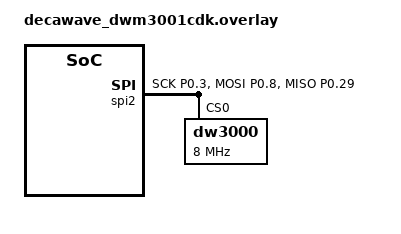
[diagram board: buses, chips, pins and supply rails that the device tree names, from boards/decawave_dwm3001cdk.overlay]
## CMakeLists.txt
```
cmake_minimum_required(VERSION 3.20.0)

find_package(Zephyr REQUIRED HINTS $ENV{ZEPHYR_BASE})
project(pintracker_app)

target_sources(app PRIVATE
    src/main.c
    src/dw3000_port.c
	src/port.c

    src/dw3000/deca_interface.c
    src/dw3000/deca_compat.c
    src/dw3000/dw3000_device.c
    src/dw3000/deca_probe_interface.c
)

target_include_directories(app PRIVATE
	src
	src/dw3000
)
```

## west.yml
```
manifest:
  self:
    west-commands: []
```

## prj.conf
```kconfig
CONFIG_SPI=y
CONFIG_GPIO=y
CONFIG_SERIAL=y
CONFIG_CONSOLE=y
CONFIG_PRINTK=y
CONFIG_CBPRINTF_FP_SUPPORT=y

# DW3000 driver initialization uses a deeper call chain than the default main stack.
CONFIG_MAIN_STACK_SIZE=8192
```

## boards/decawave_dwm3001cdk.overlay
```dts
&spi2 {
    compatible = "nordic,nrf-spim";
    status = "okay";

    pinctrl-0 = <&spi2_default>;
    pinctrl-1 = <&spi2_sleep>;
    pinctrl-names = "default", "sleep";

    dw3000: dw3000@0 {
        reg = <0>;
        spi-max-frequency = <8000000>;
    };
};

&pinctrl {
    spi2_default: spi2_default {
        group1 {
            psels = <
                NRF_PSEL(SPIM_SCK, 0, 3)
                NRF_PSEL(SPIM_MOSI, 0, 8)
                NRF_PSEL(SPIM_MISO, 0, 29)
            >;
        };
    };

    spi2_sleep: spi2_sleep {
        group1 {
            psels = <
                NRF_PSEL(SPIM_SCK, 0, 3)
                NRF_PSEL(SPIM_MOSI, 0, 8)
                NRF_PSEL(SPIM_MISO, 0, 29)
            >;
            low-power-enable;
        };
    };
};
```

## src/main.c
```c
#include <zephyr/kernel.h>
#include <zephyr/sys/printk.h>

#include <math.h>
#include <stdbool.h>
#include <stdint.h>
#include <string.h>

#include "deca_device_api.h"
#include "deca_probe_interface.h"
#include "dw3000_deca_regs.h"
#include "dw3000_port.h"

extern void spi_init(void);

#define FW_VERSION "v1.0-nrf"

/* Set to 0 for tag firmware, 1 for anchor firmware. */
#define PINTRACKER_BUILD_ANCHOR 1
#define PINTRACKER_ANCHOR_ID 1U

#define MAX_ANCHORS 3U
#define MEDIAN_WINDOW 7U
#define RX_BUFFER_LEN 22U
#define CAL_SAMPLES 50U

#define RANGE_INTERVAL_MS 100U
#define RX_TIMEOUT_MS 20U
#define RX_EARLY_EXIT_MS 12U
#define TX_TIMEOUT_MS 50U
#define ANCHOR_POLL_TIMEOUT_MS 1000U

#define DISTANCE_SCALE 1.0625f
#define DISTANCE_OFFSET (-0.159f)
#define MAX_ANCHOR_JUMP_METERS 1.5f
#define ANCHOR_REJECT_THRESH 0.18f
#define WEIGHT_DECAY 6.0f
#define CUP_DIAMETER_METERS 0.108f
#define DEBUG_STABILITY_MAX_SPREAD 0.4f

#define CONF_ANCHOR_2 0.8f
#define CONF_ANCHOR_1 0.5f
#define CONF_MOTION_PENALTY 0.7f
#define CONF_MIN 0.05f

#define ALPHA_MIN 0.05f
#define ALPHA_MAX 0.35f
#define VELOCITY_LP_ALPHA 0.2f
#define VELOCITY_LP_DECAY 0.8f

#define LOCK_ACQUIRE_TOL_METERS 0.05f
#define LOCK_BREAK_TOL_METERS 0.20f
#define LOCK_MIN_CONFIDENCE 80.0f
#define LOCK_CONFIRM_COUNT 5U

#define TX_ANT_DLY 16384U
#define RX_ANT_DLY 16384U
#define POLL_TX_TO_RESP_RX_DLY_UUS 1000U
#define RESP_RX_TIMEOUT_UUS 12000U
#define PREAMBLE_TIMEOUT_PAC 0U
#define ANCHOR_RESPONSE_SLOT_UUS 3000U
#define UUS_TO_DWT_TIME 65536ULL

#define ALL_MSG_COMMON_LEN 10U
#define ALL_MSG_SN_IDX 2U
#define RESP_MSG_POLL_RX_TS_IDX 10U
#define RESP_MSG_RESP_TX_TS_IDX 14U
#define RESP_MSG_ANCHOR_ID_IDX 18U
#define DW3000_XTRIM_VALUE 0x10U

#define DW3000_RSSI_SCALE_FACTOR 131072.0f
#define DW3000_RSSI_OFFSET_DB 113.77f
#define DW3000_NO_SIGNAL_DBM (-120.0f)
#define SPEED_OF_LIGHT 299702547.0f

typedef struct {
	float smoothed;
	float confidence;
	float velocity_lp;
	bool valid;
} filter_state_t;

typedef enum {
	SEARCHING,
	CANDIDATE,
	LOCKED,
} lock_state_t;

typedef struct {
	uint8_t id;
	float distance;
	float rssi;
	bool valid;
	bool rejected;
} anchor_measurement_t;

typedef struct {
	uint8_t rx_buffer[RX_BUFFER_LEN];
	uint8_t frame_seq_nb;
	uint32_t status_reg;
	anchor_measurement_t anchors[MAX_ANCHORS];
	uint8_t anchor_count;
	float distance_spread;
	float signal_strength;
	float signal_strength_peak;
} uwb_state_t;

typedef struct {
	float buffer[MEDIAN_WINDOW];
	uint8_t index;
	uint8_t count;
	float last_raw_distance;
	float raw_velocity;
} range_state_t;

static filter_state_t filter;
static lock_state_t lock_state = SEARCHING;
static float lock_distance;
static uint8_t lock_counter;
static uwb_state_t uwb;
static range_state_t range_state;

static float cal_buffer[MAX_ANCHORS][CAL_SAMPLES];
static uint16_t cal_index[MAX_ANCHORS];
static uint16_t rx_attempt_count;
static uint16_t rx_valid_count;

static dwt_config_t config = {
	5,
	DWT_PLEN_256,
	DWT_PAC16,
	9,
	9,
	DWT_SFD_DW_8,
	DWT_BR_6M8,
	DWT_PHRMODE_STD,
	DWT_PHRRATE_STD,
	(256 + 1 + 8 - 16),
	DWT_STS_MODE_OFF,
	DWT_STS_LEN_64,
	DWT_PDOA_M0,
};

/* Common Qorvo example defaults for DW3000 channel 5; tune for production hardware. */
static dwt_txconfig_t txconfig = {
	.PGdly = 0x34,
	.power = 0xFDFDFDFD,
	.PGcount = 0x0000,
};

static uint8_t tx_poll_msg[] = {
	0xC1, 0x88, 0, 0xCA, 0xDE, 'W', 'A', 'V', 'E', 0xE0, 0, 0,
};

static uint8_t rx_resp_msg[] = {
	0xC1, 0x88, 0, 0xCA, 0xDE, 'V', 'E', 'W', 'A', 0xE1,
	0, 0, 0, 0,
	0, 0, 0, 0,
	0,
	0,
	0, 0,
};

static uint8_t rx_poll_msg[] = {
	0xC1, 0x88, 0, 0xCA, 0xDE, 'W', 'A', 'V', 'E', 0xE0, 0, 0,
};

static uint8_t tx_resp_msg[] = {
	0xC1, 0x88, 0, 0xCA, 0xDE, 'V', 'E', 'W', 'A', 0xE1,
	0, 0, 0, 0,
	0, 0, 0, 0,
	PINTRACKER_ANCHOR_ID,
	0,
	0, 0,
};

static uint64_t get_tx_timestamp_u64(void)
{
	uint8_t ts[5];
	uint64_t value = 0;

	dwt_readtxtimestamp(ts);

	for (int i = 4; i >= 0; i--) {
		value <<= 8;
		value |= ts[i];
	}

	return value;
}

static uint64_t get_rx_timestamp_u64(void)
{
	uint8_t ts[5];
	uint64_t value = 0;

	dwt_readrxtimestamp(ts, DWT_COMPAT_NONE);

	for (int i = 4; i >= 0; i--) {
		value <<= 8;
		value |= ts[i];
	}

	return value;
}

static void resp_msg_get_ts(const uint8_t *ts_field, uint32_t *ts)
{
	*ts = ((uint32_t)ts_field[0]) |
	      ((uint32_t)ts_field[1] << 8) |
	      ((uint32_t)ts_field[2] << 16) |
	      ((uint32_t)ts_field[3] << 24);
}

static void resp_msg_set_ts(uint8_t *ts_field, uint64_t ts)
{
	for (uint8_t i = 0; i < 4U; i++) {
		ts_field[i] = (uint8_t)ts;
		ts >>= 8;
	}
}

static void clear_anchor_data(void)
{
	uwb.anchor_count = 0;

	for (uint8_t i = 0; i < MAX_ANCHORS; i++) {
		uwb.anchors[i].valid = false;
		uwb.anchors[i].rejected = false;
	}
}

static void restart_receiver(void)
{
	dwt_writesysstatuslo(SYS_STATUS_RXFCG_BIT_MASK | SYS_STATUS_ALL_RX_TO | SYS_STATUS_ALL_RX_ERR);
	k_busy_wait(5);
	(void)dwt_rxenable(DWT_START_RX_IMMEDIATE);
}

static void handle_radio_errors(void)
{
	uint32_t status = dwt_readsysstatuslo();

	if ((status & (SYS_STATUS_ALL_RX_TO | SYS_STATUS_ALL_RX_ERR)) != 0U) {
		dwt_writesysstatuslo(SYS_STATUS_ALL_RX_TO | SYS_STATUS_ALL_RX_ERR);
	}
}

static bool send_poll(void)
{
	tx_poll_msg[ALL_MSG_SN_IDX] = uwb.frame_seq_nb;

	dwt_writesysstatuslo(SYS_STATUS_TXFRS_BIT_MASK |
			       SYS_STATUS_RXFCG_BIT_MASK |
			       SYS_STATUS_ALL_RX_TO |
			       SYS_STATUS_ALL_RX_ERR);

	dwt_writetxdata(sizeof(tx_poll_msg), tx_poll_msg, 0);
	dwt_writetxfctrl(sizeof(tx_poll_msg), 0, 1);

	if (dwt_starttx(DWT_START_TX_IMMEDIATE) != DWT_SUCCESS) {
		return false;
	}

	int64_t start = k_uptime_get();

	while ((dwt_readsysstatuslo() & SYS_STATUS_TXFRS_BIT_MASK) == 0U) {
		if ((k_uptime_get() - start) > TX_TIMEOUT_MS) {
			printk("TX timeout\n");
			restart_receiver();
			return false;
		}
		k_sleep(K_MSEC(1));
	}

	dwt_writesysstatuslo(SYS_STATUS_TXFRS_BIT_MASK);
	restart_receiver();
	rx_attempt_count++;
	return true;
}

static void extract_signal_quality(void)
{
	dwt_rxdiag_t diag;

	dwt_readdiagnostics(&diag);

	if ((diag.ipatovAccumCount > 0U) && (diag.ipatovPower > 0U)) {
		float n = (float)diag.ipatovAccumCount;
		float c = (float)diag.ipatovPower;

		uwb.signal_strength = 10.0f * log10f((c * DW3000_RSSI_SCALE_FACTOR) / (n * n)) - DW3000_RSSI_OFFSET_DB;
	} else {
		uwb.signal_strength = DW3000_NO_SIGNAL_DBM;
	}

	uwb.signal_strength_peak = uwb.signal_strength;
}

static bool process_anchor_response(void)
{
	uint8_t rng = 0;
	uint16_t frame_len = dwt_getframelength(&rng);

	if ((frame_len < RX_BUFFER_LEN) || (frame_len > sizeof(uwb.rx_buffer))) {
		return false;
	}

	dwt_readrxdata(uwb.rx_buffer, frame_len, 0);

	uint8_t seq = uwb.rx_buffer[ALL_MSG_SN_IDX];
	uwb.rx_buffer[ALL_MSG_SN_IDX] = 0;
	bool valid = (memcmp(uwb.rx_buffer, rx_resp_msg, ALL_MSG_COMMON_LEN) == 0);
	uwb.rx_buffer[ALL_MSG_SN_IDX] = seq;

	if (!valid) {
		return false;
	}

	uint64_t resp_rx_ts = get_rx_timestamp_u64();
	uint64_t poll_tx_ts = get_tx_timestamp_u64();
	uint32_t poll_rx_ts;
	uint32_t resp_tx_ts;

	resp_msg_get_ts(&uwb.rx_buffer[RESP_MSG_POLL_RX_TS_IDX], &poll_rx_ts);
	resp_msg_get_ts(&uwb.rx_buffer[RESP_MSG_RESP_TX_TS_IDX], &resp_tx_ts);

	int64_t rtd_init = (int64_t)(resp_rx_ts - poll_tx_ts);
	int64_t rtd_resp = (int64_t)(resp_tx_ts - poll_rx_ts);

	if ((rtd_init <= 0) || (rtd_resp <= 0)) {
		return false;
	}

	float clock_offset_ratio = ((float)dwt_readclockoffset()) / (float)(1UL << 26);
	float tof = ((float)rtd_init - ((float)rtd_resp * (1.0f - clock_offset_ratio))) * 0.5f * (float)DWT_TIME_UNITS;
	float distance = (tof * SPEED_OF_LIGHT * DISTANCE_SCALE) + DISTANCE_OFFSET;

	if (distance < 0.0f) {
		distance = 0.0f;
	}

	extract_signal_quality();

	uint8_t anchor_id = uwb.rx_buffer[RESP_MSG_ANCHOR_ID_IDX];
	static float last_dist[MAX_ANCHORS];
	bool rejected = false;

	if (anchor_id < MAX_ANCHORS) {
		float prev = last_dist[anchor_id];

		if ((prev > 0.0f) && (fabsf(distance - prev) > MAX_ANCHOR_JUMP_METERS)) {
			rejected = true;
			printk("[REJECT] A%u %.2f -> %.2f\n", anchor_id, (double)prev, (double)distance);
		}

		if (!rejected) {
			last_dist[anchor_id] = distance;
		}
	}

	if (!rejected && (uwb.anchor_count < MAX_ANCHORS)) {
		anchor_measurement_t *anchor = &uwb.anchors[uwb.anchor_count++];

		anchor->id = anchor_id;
		anchor->distance = distance;
		anchor->rssi = uwb.signal_strength_peak;
		anchor->valid = true;
		anchor->rejected = false;
		rx_valid_count++;
	}

	return true;
}

static bool collect_anchor_responses(void)
{
	int64_t start = k_uptime_get();
	int64_t first_rx_time = 0;

	while ((k_uptime_get() - start) < RX_TIMEOUT_MS) {
		uwb.status_reg = dwt_readsysstatuslo();

		if ((uwb.status_reg & SYS_STATUS_RXFCG_BIT_MASK) != 0U) {
			if (first_rx_time == 0) {
				first_rx_time = k_uptime_get();
			}

			dwt_writesysstatuslo(SYS_STATUS_RXFCG_BIT_MASK);
			(void)process_anchor_response();
			restart_receiver();

			if (uwb.anchor_count >= MAX_ANCHORS) {
				break;
			}
		}

		if ((uwb.status_reg & SYS_STATUS_ALL_RX_TO) != 0U) {
			dwt_writesysstatuslo(SYS_STATUS_ALL_RX_TO);
			break;
		}

		if ((uwb.status_reg & SYS_STATUS_ALL_RX_ERR) != 0U) {
			dwt_writesysstatuslo(SYS_STATUS_ALL_RX_ERR);
		}

		if ((first_rx_time == 0) && ((k_uptime_get() - start) > RX_EARLY_EXIT_MS)) {
			break;
		}

		k_sleep(K_MSEC(1));
	}

	uwb.frame_seq_nb++;
	return true;
}

static float fuse_anchor_distances(void)
{
	if (uwb.anchor_count == 0U) {
		return 0.0f;
	}

	float d[MAX_ANCHORS];
	uint8_t count = 0;

	for (uint8_t i = 0; i < uwb.anchor_count; i++) {
		if (uwb.anchors[i].valid) {
			d[count++] = uwb.anchors[i].distance;
		}
	}

	if (count == 0U) {
		return 0.0f;
	}

	for (uint8_t i = 0; i < (count - 1U); i++) {
		for (uint8_t j = i + 1U; j < count; j++) {
			if (d[j] < d[i]) {
				float tmp = d[i];
				d[i] = d[j];
				d[j] = tmp;
			}
		}
	}

	float median = (count % 2U) == 0U ? 0.5f * (d[count / 2U - 1U] + d[count / 2U]) : d[count / 2U];
	float sum = 0.0f;
	float wsum = 0.0f;
	uint8_t accepted = 0;

	for (uint8_t i = 0; i < uwb.anchor_count; i++) {
		if (!uwb.anchors[i].valid) {
			continue;
		}

		float dist = uwb.anchors[i].distance;
		float err = fabsf(dist - median);

		if (err > ANCHOR_REJECT_THRESH) {
			uwb.anchors[i].rejected = true;
			continue;
		}

		float weight = expf(-err * WEIGHT_DECAY);
		sum += dist * weight;
		wsum += weight;
		accepted++;
	}

	return ((accepted > 0U) && (wsum > 0.0f)) ? (sum / wsum) : median;
}

static float compute_anchor_spread(void)
{
	if (uwb.anchor_count < 2U) {
		return 0.0f;
	}

	float min_d = uwb.anchors[0].distance;
	float max_d = uwb.anchors[0].distance;

	for (uint8_t i = 1; i < uwb.anchor_count; i++) {
		if (uwb.anchors[i].distance < min_d) {
			min_d = uwb.anchors[i].distance;
		}

		if (uwb.anchors[i].distance > max_d) {
			max_d = uwb.anchors[i].distance;
		}
	}

	float spread = (max_d - min_d) - CUP_DIAMETER_METERS;
	return spread < 0.0f ? 0.0f : spread;
}

static float compute_median(const float *values, uint8_t count)
{
	float temp[MEDIAN_WINDOW];

	if (count > MEDIAN_WINDOW) {
		count = MEDIAN_WINDOW;
	}

	memcpy(temp, values, count * sizeof(float));

	for (uint8_t i = 0; i < (count - 1U); i++) {
		for (uint8_t j = i + 1U; j < count; j++) {
			if (temp[j] < temp[i]) {
				float t = temp[i];
				temp[i] = temp[j];
				temp[j] = t;
			}
		}
	}

	return temp[count / 2U];
}

static float get_median_distance(void)
{
	return range_state.count == 0U ? filter.smoothed : compute_median(range_state.buffer, range_state.count);
}

static float compute_confidence(float spread, uint8_t anchor_count, bool moving)
{
	float confidence = 1.0f;
	float spread_penalty = 1.0f - (spread * 2.5f);

	if (spread_penalty < 0.15f) {
		spread_penalty = 0.15f;
	}

	confidence *= spread_penalty;

	if (anchor_count == 2U) {
		confidence *= CONF_ANCHOR_2;
	}

	if (anchor_count <= 1U) {
		confidence *= CONF_ANCHOR_1;
	}

	if (moving) {
		confidence *= CONF_MOTION_PENALTY;
	}

	return confidence < CONF_MIN ? CONF_MIN : confidence;
}

static void update_velocity(float distance)
{
	range_state.raw_velocity = distance - range_state.last_raw_distance;
	range_state.last_raw_distance = distance;
	filter.velocity_lp = (VELOCITY_LP_DECAY * filter.velocity_lp) + (VELOCITY_LP_ALPHA * range_state.raw_velocity);
}

static void update_filter(float measurement, float confidence)
{
	float alpha = ALPHA_MIN + ((ALPHA_MAX - ALPHA_MIN) * confidence);

	if (!filter.valid) {
		filter.smoothed = measurement;
		filter.valid = true;
		return;
	}

	filter.smoothed += alpha * (measurement - filter.smoothed);
}

static void update_lock(float distance, bool moving)
{
	float delta = fabsf(distance - lock_distance);

	switch (lock_state) {
	case SEARCHING:
		lock_counter = 0;
		if (!moving && (filter.confidence > LOCK_MIN_CONFIDENCE)) {
			lock_distance = distance;
			lock_counter = 1;
			lock_state = CANDIDATE;
		}
		break;
	case CANDIDATE:
		if ((delta < LOCK_ACQUIRE_TOL_METERS) && (filter.confidence > LOCK_MIN_CONFIDENCE)) {
			lock_counter++;
			if (lock_counter > LOCK_CONFIRM_COUNT) {
				lock_state = LOCKED;
			}
		} else {
			lock_state = SEARCHING;
		}
		break;
	case LOCKED:
		if ((delta > LOCK_BREAK_TOL_METERS) || moving) {
			lock_state = SEARCHING;
		}
		break;
	}
}

static bool run_ranging_cycle(float *distance)
{
	clear_anchor_data();

	if (!send_poll()) {
		return false;
	}

	if (!collect_anchor_responses()) {
		return false;
	}

	*distance = fuse_anchor_distances();
	uwb.distance_spread = compute_anchor_spread();

	if ((uwb.anchor_count == MAX_ANCHORS) && (uwb.distance_spread < DEBUG_STABILITY_MAX_SPREAD)) {
		for (uint8_t i = 0; i < uwb.anchor_count; i++) {
			uint8_t id = uwb.anchors[i].id;

			if (id < MAX_ANCHORS) {
				cal_buffer[id][cal_index[id]++] = uwb.anchors[i].distance;
				if (cal_index[id] >= CAL_SAMPLES) {
					cal_index[id] = 0;
				}
			}
		}
	}

	return uwb.anchor_count > 0U;
}

static void process_measurement(float distance, float spread, bool moving)
{
	update_velocity(distance);

	range_state.buffer[range_state.index++] = distance;
	if (range_state.index >= MEDIAN_WINDOW) {
		range_state.index = 0;
	}
	if (range_state.count < MEDIAN_WINDOW) {
		range_state.count++;
	}

	float confidence = compute_confidence(spread, uwb.anchor_count, moving);
	filter.confidence = confidence * 100.0f;
	update_filter(distance, confidence);
	update_lock(filter.smoothed, moving);
}

static void print_telemetry(uint32_t cycle)
{
	printk("%6u A0=%5.2f A1=%5.2f A2=%5.2f spread=%4.2f dist=%5.2f med=%5.2f conf=%3.0f%% rx=%u/%u state=%d\n",
	       cycle,
	       uwb.anchors[0].valid ? (double)uwb.anchors[0].distance : -1.0,
	       uwb.anchors[1].valid ? (double)uwb.anchors[1].distance : -1.0,
	       uwb.anchors[2].valid ? (double)uwb.anchors[2].distance : -1.0,
	       (double)uwb.distance_spread,
	       (double)filter.smoothed,
	       (double)get_median_distance(),
	       (double)filter.confidence,
	       rx_valid_count,
	       rx_attempt_count * MAX_ANCHORS,
	       lock_state);
}

static bool anchor_wait_poll_and_respond(uint32_t *poll_count)
{
	uint8_t rx_buffer[RX_BUFFER_LEN];
	int64_t start = k_uptime_get();

	dwt_writesysstatuslo(SYS_STATUS_RXFCG_BIT_MASK | SYS_STATUS_ALL_RX_TO | SYS_STATUS_ALL_RX_ERR | SYS_STATUS_TXFRS_BIT_MASK);
	(void)dwt_rxenable(DWT_START_RX_IMMEDIATE);

	while ((k_uptime_get() - start) < ANCHOR_POLL_TIMEOUT_MS) {
		uint32_t status = dwt_readsysstatuslo();

		if ((status & SYS_STATUS_RXFCG_BIT_MASK) != 0U) {
			uint8_t rng = 0;
			uint16_t frame_len = dwt_getframelength(&rng);

			dwt_writesysstatuslo(SYS_STATUS_RXFCG_BIT_MASK);

			if ((frame_len == sizeof(rx_poll_msg)) && (frame_len <= sizeof(rx_buffer))) {
				dwt_readrxdata(rx_buffer, frame_len, 0);

				uint8_t seq = rx_buffer[ALL_MSG_SN_IDX];
				rx_buffer[ALL_MSG_SN_IDX] = 0;
				bool valid = (memcmp(rx_buffer, rx_poll_msg, ALL_MSG_COMMON_LEN) == 0);
				rx_buffer[ALL_MSG_SN_IDX] = seq;

				if (valid) {
					uint64_t poll_rx_ts = get_rx_timestamp_u64();
					uint32_t response_delay_uus = (PINTRACKER_ANCHOR_ID + 1U) * ANCHOR_RESPONSE_SLOT_UUS;
					uint32_t resp_tx_time = (uint32_t)((poll_rx_ts + ((uint64_t)response_delay_uus * UUS_TO_DWT_TIME)) >> 8);
					uint64_t resp_tx_ts = (((uint64_t)(resp_tx_time & 0xFFFFFFFEUL)) << 8) + TX_ANT_DLY;

					tx_resp_msg[ALL_MSG_SN_IDX] = seq;
					tx_resp_msg[RESP_MSG_ANCHOR_ID_IDX] = PINTRACKER_ANCHOR_ID;
					resp_msg_set_ts(&tx_resp_msg[RESP_MSG_POLL_RX_TS_IDX], poll_rx_ts);
					resp_msg_set_ts(&tx_resp_msg[RESP_MSG_RESP_TX_TS_IDX], resp_tx_ts);

					dwt_setdelayedtrxtime(resp_tx_time);
					dwt_writetxdata(sizeof(tx_resp_msg), tx_resp_msg, 0);
					dwt_writetxfctrl(sizeof(tx_resp_msg), 0, 1);

					if (dwt_starttx(DWT_START_TX_DELAYED) == DWT_SUCCESS) {
						int64_t tx_start = k_uptime_get();

						while ((dwt_readsysstatuslo() & SYS_STATUS_TXFRS_BIT_MASK) == 0U) {
							if ((k_uptime_get() - tx_start) > TX_TIMEOUT_MS) {
								break;
							}
						}

						dwt_writesysstatuslo(SYS_STATUS_TXFRS_BIT_MASK);
						(*poll_count)++;
						return true;
					}
				}
			}
		}

		if ((status & (SYS_STATUS_ALL_RX_TO | SYS_STATUS_ALL_RX_ERR)) != 0U) {
			dwt_writesysstatuslo(SYS_STATUS_ALL_RX_TO | SYS_STATUS_ALL_RX_ERR);
			(void)dwt_rxenable(DWT_START_RX_IMMEDIATE);
		}

		k_sleep(K_MSEC(1));
	}

	dwt_forcetrxoff();
	return false;
}

static void run_anchor(void)
{
	uint32_t poll_count = 0;
	uint32_t idle_count = 0;

	printk("Anchor ID: %u\n", PINTRACKER_ANCHOR_ID);
	printk("Anchor waiting for polls\n");

	while (1) {
		if (anchor_wait_poll_and_respond(&poll_count)) {
			printk("anchor %u responded count=%u\n", PINTRACKER_ANCHOR_ID, poll_count);
		} else {
			idle_count++;
			printk("anchor %u waiting idle=%u responses=%u\n", PINTRACKER_ANCHOR_ID, idle_count, poll_count);
		}
	}
}

static void run_tag(void)
{
	uint32_t last_range_ms = 0;
	uint32_t cycle = 0;

	while (1) {
		uint32_t now = k_uptime_get_32();

		if ((now - last_range_ms) >= RANGE_INTERVAL_MS) {
			float raw_distance = 0.0f;

			last_range_ms = now;
			cycle++;

			if (run_ranging_cycle(&raw_distance)) {
				process_measurement(raw_distance, uwb.distance_spread, false);
				print_telemetry(cycle);
			} else {
				printk("%6u searching rx=%u/%u\n", cycle, rx_valid_count, rx_attempt_count * MAX_ANCHORS);
			}
		}

		handle_radio_errors();
		k_sleep(K_MSEC(5));
	}
}

static void init_uwb(const char *role)
{
	printk("DW3000 %s %s\n", role, FW_VERSION);

	spi_init();
	k_msleep(20);

	uint8_t dev_hdr[1] = { 0x00 };
	uint8_t dev_id_raw[4] = { 0 };

	for (uint8_t i = 0; i < 5; i++) {
		(void)readfromspi(1, dev_hdr, 4, dev_id_raw);
		printk("RAW DEV_ID[%u]: %02X %02X %02X %02X\n",
		       i,
		       dev_id_raw[0],
		       dev_id_raw[1],
		       dev_id_raw[2],
		       dev_id_raw[3]);
		k_msleep(5);
	}

	if (dwt_probe((struct dwt_probe_s *)&dw3000_probe_interf) == DWT_ERROR) {
		printk("PROBE FAILED\n");
		while (1) {
			k_sleep(K_SECONDS(1));
		}
	}

	while (!dwt_checkidlerc()) {
		k_sleep(K_MSEC(1));
	}

	if (dwt_initialise(DWT_READ_OTP_ALL) == DWT_ERROR) {
		printk("INIT FAILED\n");
		while (1) {
			k_sleep(K_SECONDS(1));
		}
	}

	dwt_setxtaltrim(DW3000_XTRIM_VALUE);
	dwt_softreset(DWT_RESET_ALL);
	k_msleep(2);

	while (!dwt_checkidlerc()) {
		k_sleep(K_MSEC(1));
	}

	if (dwt_initialise(DWT_READ_OTP_ALL) == DWT_ERROR) {
		printk("INIT FAILED after XTRIM\n");
		while (1) {
			k_sleep(K_SECONDS(1));
		}
	}

	printk("DEVICE ID: 0x%08X\n", dwt_readdevid());

	dwt_setleds(DWT_LEDS_ENABLE | DWT_LEDS_INIT_BLINK);

	if (dwt_configure(&config) != DWT_SUCCESS) {
		printk("CONFIG FAILED\n");
		while (1) {
			k_sleep(K_SECONDS(1));
		}
	}

	dwt_configciadiag(1);
	dwt_configuretxrf(&txconfig);
	dwt_setrxantennadelay(RX_ANT_DLY);
	dwt_settxantennadelay(TX_ANT_DLY);
	dwt_setrxaftertxdelay(POLL_TX_TO_RESP_RX_DLY_UUS);
	dwt_setrxtimeout(RESP_RX_TIMEOUT_UUS);
	dwt_setpreambledetecttimeout(PREAMBLE_TIMEOUT_PAC);
	dwt_setlnapamode(DWT_LNA_ENABLE | DWT_PA_ENABLE);

	printk("UWB ready\n");
}

int main(void)
{
#if PINTRACKER_BUILD_ANCHOR
	init_uwb("anchor");
	run_anchor();
#else
	init_uwb("tag");
	run_tag();
#endif

	return 0;
}
```

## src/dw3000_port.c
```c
#include <zephyr/kernel.h>
#include <zephyr/device.h>
#include <zephyr/drivers/spi.h>
#include <zephyr/drivers/gpio.h>
#include <zephyr/devicetree.h>
#include <string.h>

/* ===== SPI ===== */
#define SPI_NODE DT_NODELABEL(spi2)

/* ===== Pins ===== */
#define PIN_CS 6
#define PIN_RST 25
#define PIN_WAKEUP 19

static const struct device *spi_dev;
static const struct device *gpio0_dev;
static const struct device *gpio1_dev;

/* ===== SPI config ===== */
static const struct spi_config spi_cfg = {
	.frequency = 1000000,
	.operation = SPI_WORD_SET(8) |
				 SPI_TRANSFER_MSB |
				 SPI_MODE_CPOL |
				 SPI_MODE_CPHA,
	.slave = 0,
	.cs = {
		.gpio = {
			.port = NULL,
			.pin = 0,
			.dt_flags = 0,
		},
		.delay = 0,
	},
};

/* ===== INIT ===== */
void spi_init(void)
{
	spi_dev = DEVICE_DT_GET(SPI_NODE);

	if (!device_is_ready(spi_dev))
	{
		printk("SPI not ready!\n");
		return;
	}

	gpio0_dev = DEVICE_DT_GET(DT_NODELABEL(gpio0));
	gpio1_dev = DEVICE_DT_GET(DT_NODELABEL(gpio1));

	if (!device_is_ready(gpio0_dev) ||
		!device_is_ready(gpio1_dev))
	{
		printk("GPIO not ready!\n");
		return;
	}

	/* ===== Configure pins ===== */

	gpio_pin_configure(gpio1_dev, PIN_CS, GPIO_OUTPUT_ACTIVE);
	gpio_pin_set(gpio1_dev, PIN_CS, 1);

	gpio_pin_configure(gpio1_dev, PIN_WAKEUP, GPIO_OUTPUT_ACTIVE);
	gpio_pin_set(gpio1_dev, PIN_WAKEUP, 1);

	gpio_pin_configure(gpio0_dev, PIN_RST, GPIO_OUTPUT_ACTIVE);

	/* ===== Hardware reset ===== */

	gpio_pin_set(gpio0_dev, PIN_RST, 0);
	k_msleep(10);

	gpio_pin_set(gpio0_dev, PIN_RST, 1);
	k_msleep(10);

	printk("SPI init done\n");
}

/* ===== SPI WRITE ===== */
int writetospi(uint16_t headerLength,
			   const uint8_t *headerBuffer,
			   uint16_t bodyLength,
			   const uint8_t *bodyBuffer)
{
	uint8_t tx_buf[256];

	uint32_t total_len = headerLength + bodyLength;

	if (total_len > sizeof(tx_buf))
	{
		return -1;
	}

	memcpy(tx_buf, headerBuffer, headerLength);

	if (bodyLength > 0)
	{
		memcpy(tx_buf + headerLength,
			   bodyBuffer,
			   bodyLength);
	}

	struct spi_buf tx = {
		.buf = tx_buf,
		.len = total_len,
	};

	struct spi_buf_set tx_set = {
		.buffers = &tx,
		.count = 1,
	};

	gpio_pin_set(gpio1_dev, PIN_CS, 0);

	int ret = spi_write(spi_dev, &spi_cfg, &tx_set);

	gpio_pin_set(gpio1_dev, PIN_CS, 1);

	if (ret)
	{
		printk("SPI write error %d\n", ret);
	}

	return ret;
}

/* ===== SPI READ ===== */
int readfromspi(uint16_t headerLength,
				uint8_t *headerBuffer,
				uint16_t readLength,
				uint8_t *readBuffer)
{
	uint8_t tx_buf[256];
	uint8_t rx_buf[256];

	uint32_t total_len = headerLength + readLength;

	if (total_len > sizeof(tx_buf))
	{
		return -1;
	}

	memcpy(tx_buf, headerBuffer, headerLength);
	memset(tx_buf + headerLength, 0x00, readLength);

	struct spi_buf tx = {
		.buf = tx_buf,
		.len = total_len,
	};

	struct spi_buf rx = {
		.buf = rx_buf,
		.len = total_len,
	};

	struct spi_buf_set tx_set = {
		.buffers = &tx,
		.count = 1,
	};

	struct spi_buf_set rx_set = {
		.buffers = &rx,
		.count = 1,
	};

	gpio_pin_set(gpio1_dev, PIN_CS, 0);

	int ret = spi_transceive(spi_dev,
							 &spi_cfg,
							 &tx_set,
							 &rx_set);

	gpio_pin_set(gpio1_dev, PIN_CS, 1);

	if (ret)
	{
		printk("SPI read error %d\n", ret);
		return ret;
	}

	memcpy(readBuffer,
		   rx_buf + headerLength,
		   readLength);

	return 0;
}
```

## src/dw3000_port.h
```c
#pragma once

#include <stdint.h>

#ifdef __cplusplus
extern "C"
{
#endif

	void spi_init(void);

	int readfromspi(uint16_t headerLength,
					uint8_t *headerBuffer,
					uint16_t readLength,
					uint8_t *readBuffer);

	int writetospi(uint16_t headerLength,
				   const uint8_t *headerBuffer,
				   uint16_t bodyLength,
				   const uint8_t *bodyBuffer);

#ifdef __cplusplus
}
#endif
```

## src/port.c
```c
#include <zephyr/kernel.h>
#include <zephyr/sys/util.h>
#include "deca_device_api.h"

#include <stdint.h>

void deca_usleep(unsigned long time_us)
{
	k_usleep(time_us);
}

void deca_sleep(unsigned int time_ms)
{
	k_msleep(time_ms);
}

decaIrqStatus_t decamutexon(void)
{
	return 0;
}

void decamutexoff(decaIrqStatus_t s)
{
	ARG_UNUSED(s);
}

float rsl_calculate_signal_power(float rxpacc,
								 float cir_pwr,
								 uint8_t dgc_dec)
{
	ARG_UNUSED(rxpacc);
	ARG_UNUSED(cir_pwr);
	ARG_UNUSED(dgc_dec);

	return 0.0f;
}

float rsl_calculate_first_path_power(float fp1,
									 float fp2,
									 float fp3,
									 uint16_t rxpacc)
{
	ARG_UNUSED(fp1);
	ARG_UNUSED(fp2);
	ARG_UNUSED(fp3);
	ARG_UNUSED(rxpacc);

	return 0.0f;
}

/* ===== Existing stubs ===== */

void port_set_dw_ic_spi_slowrate(void)
{
}

void port_set_dw_ic_spi_fastrate(void)
{
}

void wakeup_device_with_io(void)
{
	k_msleep(1);
}

extern int writetospi(uint16_t headerLength,
					  const uint8_t *headerBuffer,
					  uint32_t bodyLength,
					  const uint8_t *bodyBuffer);

int writetospiwithcrc(uint16_t headerLength,
					  const uint8_t *headerBuffer,
					  uint16_t bodyLength,
					  const uint8_t *bodyBuffer,
					  uint8_t crc8)
{
	ARG_UNUSED(crc8);

	return writetospi(headerLength,
					  headerBuffer,
					  bodyLength,
					  bodyBuffer);
}
```

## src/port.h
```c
#pragma once

#include <stdint.h>
#include "deca_device_api.h"

#ifdef __cplusplus
extern "C"
{
#endif

	/* ===== SPI rate helpers ===== */

	void port_set_dw_ic_spi_slowrate(void);

	void port_set_dw_ic_spi_fastrate(void);

	/* ===== Wakeup ===== */

	void wakeup_device_with_io(void);

	/* ===== SPI write with CRC ===== */

	int writetospiwithcrc(uint16_t headerLength,
						  const uint8_t *headerBuffer,
						  uint16_t bodyLength,
						  const uint8_t *bodyBuffer,
						  uint8_t crc8);

	/* ===== Timing ===== */

	void deca_usleep(unsigned long time_us);

	void deca_sleep(unsigned int time_ms);

	/* ===== Mutex ===== */

	decaIrqStatus_t decamutexon(void);

	void decamutexoff(decaIrqStatus_t s);

	/* ===== RSSI helpers ===== */

	float rsl_calculate_signal_power(float rxpacc,
									 float cir_pwr,
									 uint8_t dgc_dec);

	float rsl_calculate_first_path_power(float fp1,
										 float fp2,
										 float fp3,
										 uint16_t rxpacc);

#ifdef __cplusplus
}
#endif
```
